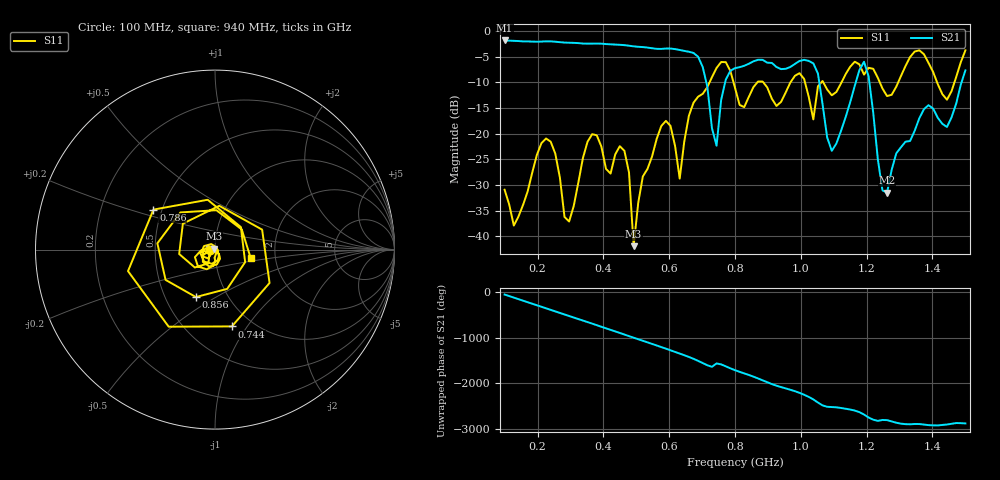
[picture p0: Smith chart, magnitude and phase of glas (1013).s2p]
! NanoVNA-App
! Date: 2025-09-25 16:03:21
! Start: 100MHz Stop: 1,5GHz Points: 101
! S-Parameter data: F S11 S21 S12 S22
# Hz S RI R 50
!  Frequency  S11_Real  S11_Imag  S21_Real  S21_Imag  S12_Real  S12_Imag  S22_Real  S22_Imag
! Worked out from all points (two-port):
!   101 points, 100 MHz to 1.5 GHz, reference 50 ohm
!   highest |S21| = -1.80 dB at 100 MHz (marker M1); lowest = -31.5 dB at 1.262 GHz (marker M2)
!   |S21| within 3 dB of the highest: start of sweep to 684.6 MHz
!   lowest |S11| = -41.9 dB at 492 MHz (marker M3), VSWR 1.02, Z = 49.5 + j0.597 ohm
!   |S11| at or under -10 dB: start of sweep to 722.5 MHz; 795.6 MHz to 867.6 MHz (72.09 MHz wide, 8.67 % of centre); 886.2 MHz to 968.2 MHz (82.01 MHz wide, 8.84 % of centre) (the widest 3 of 7)
!   S12 and S22 are empty: the file has one direction only
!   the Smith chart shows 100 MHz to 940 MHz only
!   S11 on the Smith chart (normalised r, x): 100 MHz: 0.94, -0.01; 744 MHz: 0.80, -0.85; 786 MHz: 0.45, +0.24; 856 MHz: 0.71, -0.41; 940 MHz: 1.49, -0.15
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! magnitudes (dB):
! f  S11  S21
! 100 MHz  -30.9  -1.8
! 128 MHz  -37.9  -1.9
! 226 MHz  -20.9  -2.0
! 296 MHz  -37.1  -2.2
! 338 MHz  -24.7  -2.4
! 464 MHz  -23.3  -2.7
! 492 MHz  -41.9  -2.9
! 576 MHz  -18.5  -3.5
! 632 MHz  -28.8  -3.7
! 702 MHz  -12.2  -7.0
! 744 MHz  -7.2  -22.3
! 786 MHz  -7.8  -7.7
! 800 MHz  -11.0  -7.2
! 856 MHz  -10.9  -5.9
! 940 MHz  -13.8  -7.4
! 996 MHz  -8.2  -5.8
! 1.038 GHz  -17.2  -6.3
! 1.094 GHz  -12.5  -23.3
! 1.192 GHz  -8.5  -6.0
! 1.262 GHz  -12.6  -31.5
! 1.276 GHz  -12.4  -27.0
! 1.5 GHz  -3.7  -7.6
